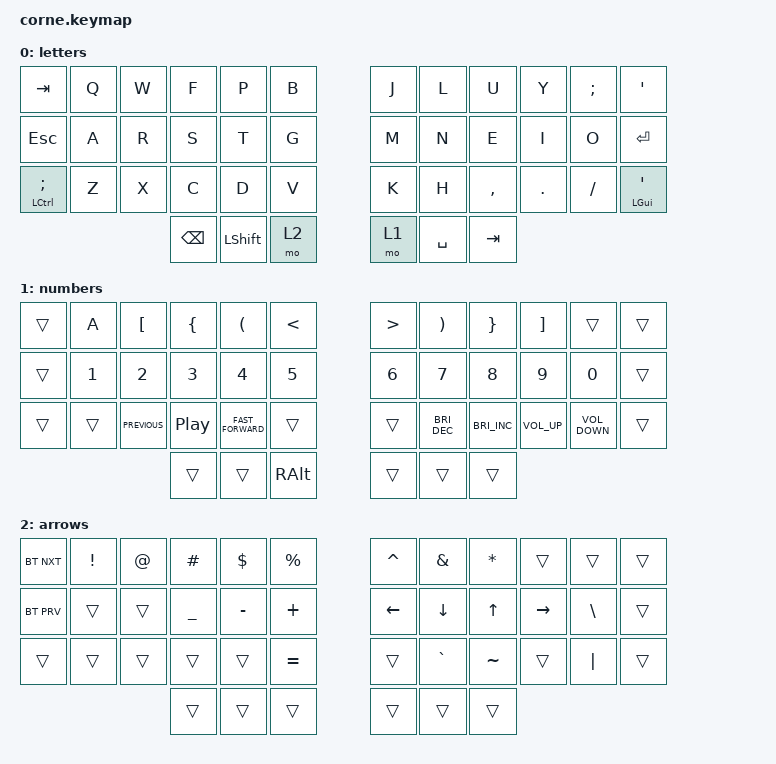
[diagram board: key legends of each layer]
/*
 * Copyright (c) 2020 The ZMK Contributors
 *
 * SPDX-License-Identifier: MIT
 */

#include <behaviors.dtsi>
#include <dt-bindings/zmk/bt.h>
#include <dt-bindings/zmk/keys.h>

/ {
    keymap {
        compatible = "zmk,keymap";

        letters {
            bindings = <
&kp TAB              &kp Q  &kp W  &kp F          &kp P           &kp B    &kp J  &kp L      &kp U      &kp Y       &kp SEMICOLON  &kp SQT
&kp ESCAPE           &kp A  &kp R  &kp S          &kp T           &kp G    &kp M  &kp N      &kp E      &kp I       &kp O          &kp ENTER
&mt LCTRL SEMICOLON  &kp Z  &kp X  &kp C          &kp D           &kp V    &kp K  &kp H      &kp COMMA  &kp PERIOD  &kp FSLH       &mt LGUI SINGLE_QUOTE
                                   &kp BACKSPACE  &kp LEFT_SHIFT  &mo 2    &mo 1  &kp SPACE  &kp TAB
            >;
        };

        numbers {
            bindings = <
&trans  &kp A         &kp LEFT_BRACKET  &kp LEFT_BRACE    &kp LEFT_PARENTHESIS  &kp LESS_THAN    &kp GREATER_THAN  &kp RIGHT_PARENTHESIS  &kp RIGHT_BRACE       &kp RIGHT_BRACKET  &trans             &trans
&trans  &kp NUMBER_1  &kp NUMBER_2      &kp NUMBER_3      &kp NUMBER_4          &kp NUMBER_5     &kp NUMBER_6      &kp NUMBER_7           &kp NUMBER_8          &kp NUMBER_9       &kp NUMBER_0       &trans
&trans  &trans        &kp C_PREVIOUS    &kp C_PLAY_PAUSE  &kp C_FAST_FORWARD    &trans           &trans            &kp C_BRIGHTNESS_DEC   &kp C_BRIGHTNESS_INC  &kp C_VOLUME_UP    &kp C_VOLUME_DOWN  &trans
                                        &trans            &trans                &kp RALT         &trans            &trans                 &trans
            >;
        };

        arrows {
            bindings = <
&bt BT_NXT  &kp EXCL  &kp AT  &kp HASH        &kp DLLR   &kp PRCNT    &kp CARET       &kp AMPS        &kp ASTRK     &trans           &trans    &trans
&bt BT_PRV  &trans    &trans  &kp UNDERSCORE  &kp MINUS  &kp PLUS     &kp LEFT_ARROW  &kp DOWN_ARROW  &kp UP_ARROW  &kp RIGHT_ARROW  &kp BSLH  &trans
&trans      &trans    &trans  &trans          &trans     &kp EQUAL    &trans          &kp GRAVE       &kp TILDE     &trans           &kp PIPE  &trans
                              &trans          &trans     &trans       &trans          &trans          &trans
            >;
        };
    };
};
